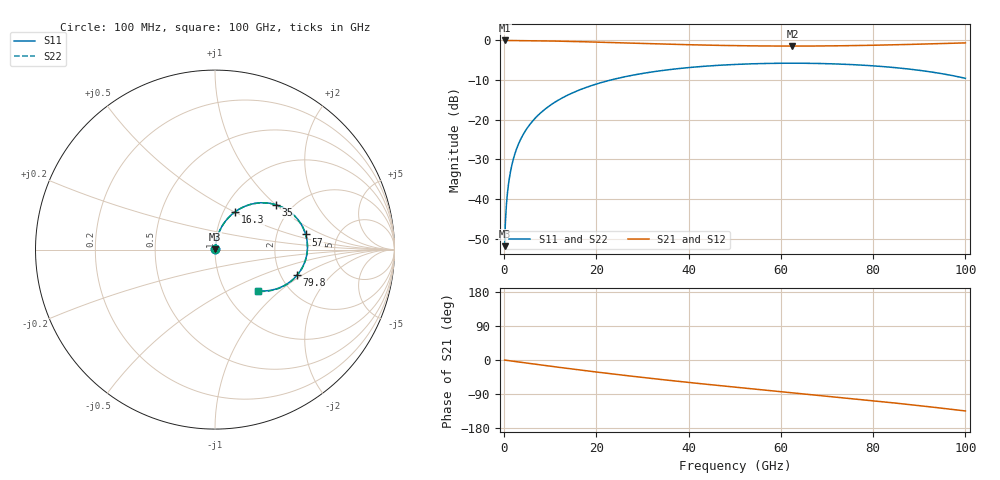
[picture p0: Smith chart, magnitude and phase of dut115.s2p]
! Touchstone file exported from HFSS 2026.1.0
!  File:  C:/ffzhzh/LocalFiles/Ansys_Project_Files/temp_train_RDL_115_1783499353_9504.aedt
!  Generated:  04:30:25 PM Jul  8, 2026
!  Design:  RDL
!  Project:  temp_train_RDL_115_1783499353_9504
! Variables:
!  h_bsmrdl = 2um
!  h_ox = 20um
!  h_rdl = 5um
!  h_sub = 80um
!  h_tmrdl = 3.5um
!  h_tsv = 80um
!  h_via = 3um
!  l_bsmrdl = 300um
!  l_sub = 843.59um
!  l_tmrdl = 443.59um
!  m_sub = 200um
!  pitch = 56.13um
!  r_tsv = 6um
!  s_tmrdl = 10um
!  w_bsmrdl = 18um
!  w_sub = 500um
!  w_tmrdl = 28.52um
!  x_tsv_center1 = 457.85um
!  x_tsv_center2 = 775.85um
!  x_tsv_center3 = 1247.96um
!  x_tsv_center4 = 1565.96um
!  x_tsv_center5 = 2038.07um
!  x_tsv_center6 = 2356.07um
# GHz S MA R 50.000000
! Terminal data exported
! Port[1] = TM_RDL1_1_T1
! Port[2] = TM_RDL1_1_T2
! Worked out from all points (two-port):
!   1000 points, 100 MHz to 100 GHz, reference 50 ohm
!   highest |S21| = -0.02 dB at 100 MHz (marker M1); lowest = -1.4 dB at 62.5 GHz (marker M2)
!   |S21| within 3 dB of the highest: start of sweep to end of sweep
!   lowest |S11| = -51.9 dB at 100 MHz (marker M3), VSWR 1.01, Z = 50.2 + j0.178 ohm
!   |S11| at or under -10 dB: start of sweep to 23.08 GHz
!   |S22| runs from -51.9 to -5.8 dB; largest |S21 - S12| = 1.7e-14
!   S11 on the Smith chart (normalised r, x): 100 MHz: 1.00, +0.00; 16.3 GHz: 1.13, +0.50; 35 GHz: 1.65, +1.00; 57 GHz: 2.93, +0.67; 79.8 GHz: 2.44, -0.91; 100 GHz: 1.41, -0.73
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0.1  0.002545 44.3  0.9982 -0.2  0.9982 -0.2  0.002545 44.3
! Gamma 0 0 0 0
! Port Impedance 50 0 50 0
0.8  0.01318 78.3  0.9976 -1.3  0.9976 -1.3  0.01318 78.3
1.1  0.01784 80.3  0.9974 -1.8  0.9974 -1.8  0.01784 80.3
1.4  0.02253 81.3  0.9973 -2.3  0.9973 -2.3  0.02253 81.3
2.4  0.03822 81.9  0.9965 -4.0  0.9965 -4.0  0.03822 81.9
3.9  0.06157 80.5  0.9949 -6.5  0.9949 -6.5  0.06157 80.5
6  0.0936 77.6  0.9915 -9.9  0.9915 -9.9  0.0936 77.6
8.7  0.1335 73.6  0.9859 -14.2  0.9859 -14.2  0.1335 73.5
12.1  0.1815 68.5  0.9772 -19.6  0.9772 -19.6  0.1815 68.4
16.3  0.2369 62.2  0.9644 -26.1  0.9644 -26.1  0.2369 62.1
16.8  0.2432 61.5  0.9628 -26.9  0.9628 -26.9  0.2432 61.4
24.2  0.328 50.8  0.9365 -37.8  0.9365 -37.8  0.328 50.7
33.4  0.4106 38.4  0.9032 -50.6  0.9032 -50.6  0.4105 38.2
35  0.4223 36.3  0.8977 -52.7  0.8977 -52.7  0.4223 36.1
50.1  0.4975 17.6  0.8586 -71.7  0.8586 -71.7  0.4975 17.4
57  0.5122 9.5  0.85 -79.9  0.85 -79.9  0.5122 9.2
62.5  0.5157 3.1  0.8478 -86.5  0.8478 -86.5  0.5157 2.8
66.7  0.5135 -1.8  0.849 -91.4  0.849 -91.4  0.5134 -2.1
79.8  0.4786 -17.4  0.868 -107.3  0.868 -107.3  0.4785 -17.7
83.4  0.4612 -21.8  0.8769 -111.9  0.8769 -111.9  0.461 -22.2
91.9  0.4053 -32.7  0.9025 -123.0  0.9025 -123.0  0.4052 -33.1
100  0.3325 -43.6  0.93 -134.5  0.93 -134.5  0.3323 -44.1
